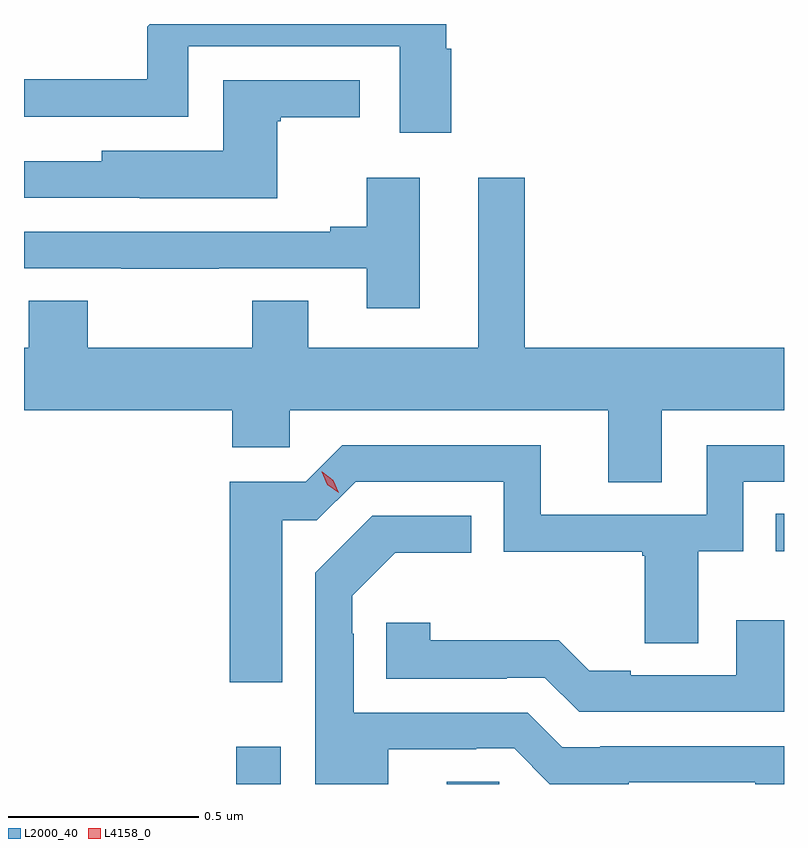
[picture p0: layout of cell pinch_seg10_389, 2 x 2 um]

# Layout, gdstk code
import gdstk
lib = gdstk.Library(unit=1e-6, precision=1e-09)
def R(c, l, rs):  # rectangles x0, y0, x1, y1
    for r in rs: c.add(gdstk.rectangle(r[:2], r[2:], *l))
def P(c, l, *ps):  # polygons
    for p in ps: c.add(gdstk.Polygon(p, *l))
L2000_40 = (2000, 40)
L4158_0 = (4158, 0)

pinch_seg10_389 = lib.new_cell('pinch_seg10_389')
R(pinch_seg10_389, L2000_40, [(527.68,1280.684,527.796,1280.782), (528.233,1280.684,528.372,1280.69), (529.099,1281.296,529.121,1281.395)])
P(pinch_seg10_389, L2000_40, [(528.245,1282.619),(528.232,1282.619),(528.232,1282.684),(527.452,1282.684),(527.445,1282.677),(527.445,1282.538),(527.121,1282.538),(527.121,1282.44),(527.553,1282.44),(527.553,1282.626),(528.11,1282.626),(528.11,1282.398),(528.245,1282.398)],
  [(527.788,1282.428),(527.796,1282.428),(527.796,1282.439),(528.004,1282.439),(528.004,1282.536),(527.645,1282.536),(527.645,1282.351),(527.325,1282.351),(527.325,1282.323),(527.121,1282.323),(527.121,1282.227),(527.425,1282.227),(527.425,1282.226),(527.788,1282.226)],
  [(528.799,1281.668),(529.121,1281.668),(529.121,1281.832),(528.439,1281.832),(528.439,1282.279),(528.317,1282.279),(528.317,1281.832),(527.869,1281.832),(527.869,1281.956),(527.722,1281.956),(527.722,1281.832),(527.289,1281.832),(527.289,1281.956),(527.134,1281.956),(527.134,1281.832),(527.121,1281.832),(527.121,1281.668),(527.669,1281.668),(527.669,1281.57),(527.82,1281.57),(527.82,1281.668),(528.659,1281.668),(528.659,1281.478),(528.799,1281.478)],
  [(528.163,1282.279),(528.023,1282.279),(528.023,1282.15),(527.927,1282.15),(527.927,1282.137),(527.121,1282.137),(527.121,1282.041),(527.377,1282.041),(527.377,1282.04),(527.633,1282.04),(527.633,1282.041),(528.023,1282.041),(528.023,1281.936),(528.163,1281.936)],
  [(527.8,1281.378),(527.892,1281.378),(527.994,1281.48),(528.384,1281.48),(528.384,1281.295),(528.748,1281.295),(528.748,1281.285),(528.755,1281.285),(528.755,1281.055),(528.895,1281.055),(528.895,1281.296),(529.014,1281.296),(529.014,1281.48),(529.121,1281.48),(529.121,1281.576),(528.918,1281.576),(528.918,1281.393),(528.481,1281.393),(528.481,1281.576),(527.958,1281.576),(527.862,1281.48),(527.663,1281.48),(527.663,1280.952),(527.8,1280.952)],
  [(528.079,1280.775),(528.311,1280.775),(528.311,1280.778),(528.411,1280.778),(528.505,1280.684),(528.713,1280.684),(528.713,1280.688),(529.045,1280.688),(529.045,1280.684),(529.121,1280.684),(529.121,1280.784),(528.637,1280.784),(528.637,1280.781),(528.537,1280.781),(528.447,1280.871),(527.989,1280.871),(527.989,1281.08),(527.985,1281.08),(527.985,1281.18),(528.098,1281.293),(528.298,1281.293),(528.298,1281.39),(528.038,1281.39),(527.888,1281.24),(527.888,1280.684),(528.079,1280.684)],
  [(529.121,1281.115),(528.995,1281.115),(528.995,1280.97),(528.718,1280.97),(528.718,1280.982),(528.608,1280.982),(528.528,1281.062),(528.19,1281.062),(528.19,1281.109),(528.074,1281.109),(528.074,1280.961),(528.392,1280.961),(528.392,1280.964),(528.492,1280.964),(528.582,1280.874),(529.121,1280.874)])
P(pinch_seg10_389, L4158_0, [(527.949,1281.45),(527.919,1281.472),(527.905,1281.506),(527.905,1281.506),(527.906,1281.506),(527.935,1281.484),(527.949,1281.45),(527.949,1281.45)])

lib.write_gds('pinch_seg10_389.gds')
